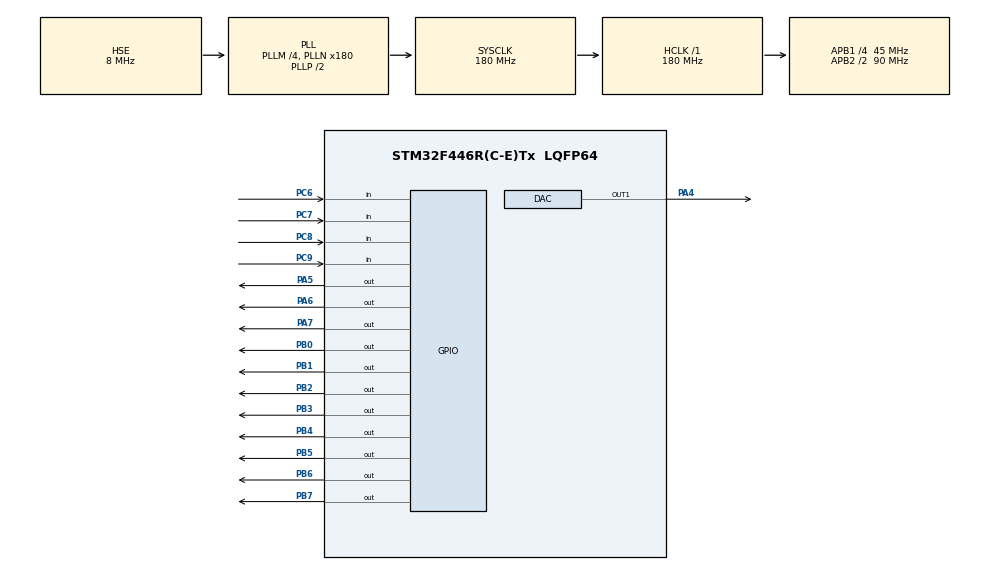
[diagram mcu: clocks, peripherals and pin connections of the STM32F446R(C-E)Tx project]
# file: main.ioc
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DAC.DAC_Trigger=DAC_TRIGGER_T2_TRGO
Dma.DAC1.0.Direction=DMA_MEMORY_TO_PERIPH
Dma.DAC1.0.FIFOMode=DMA_FIFOMODE_DISABLE
Dma.DAC1.0.Instance=DMA1_Stream5
Dma.DAC1.0.MemDataAlignment=DMA_MDATAALIGN_WORD
Dma.DAC1.0.MemInc=DMA_MINC_ENABLE
Dma.DAC1.0.Mode=DMA_CIRCULAR
Dma.DAC1.0.PeriphDataAlignment=DMA_PDATAALIGN_WORD
Dma.DAC1.0.PeriphInc=DMA_PINC_DISABLE
Dma.DAC1.0.Priority=DMA_PRIORITY_LOW
Dma.Request0=DAC1
Mcu.Family=STM32F4
Mcu.Name=STM32F446R(C-E)Tx
Mcu.Package=LQFP64
NVIC.DMA1_Stream5_IRQn=true\:0\:0\:false\:false\:true\:false\:true
NVIC.PriorityGroup=NVIC_PRIORITYGROUP_0
NVIC.TIM2_IRQn=true\:0\:0\:false\:false\:true\:true\:true
PA13.Mode=Serial_Wire
PA13.Signal=SYS_JTMS-SWDIO
PA14.Mode=Serial_Wire
PA14.Signal=SYS_JTCK-SWCLK
PA4.Signal=COMP_DAC1_group
PA5.Signal=GPIO_Output
PA6.Signal=GPIO_Output
PA7.Signal=GPIO_Output
PB0.Signal=GPIO_Output
PB1.Signal=GPIO_Output
PB2.Signal=GPIO_Output
PB3.Signal=GPIO_Output
PB4.Signal=GPIO_Output
PB5.Signal=GPIO_Output
PB6.Signal=GPIO_Output
PB7.Signal=GPIO_Output
PC6.GPIO_PuPd=GPIO_PULLUP
PC6.Signal=GPIO_Input
PC7.GPIO_PuPd=GPIO_PULLUP
PC7.Signal=GPIO_Input
PC8.GPIO_PuPd=GPIO_PULLUP
PC8.Signal=GPIO_Input
PC9.GPIO_PuPd=GPIO_PULLUP
PC9.Signal=GPIO_Input
PH0-OSC_IN.Mode=HSE-External-Oscillator
PH0-OSC_IN.Signal=RCC_OSC_IN
PH1-OSC_OUT.Mode=HSE-External-Oscillator
PH1-OSC_OUT.Signal=RCC_OSC_OUT
ProjectManager.HeapSize=0x200
ProjectManager.StackSize=0x400
ProjectManager.TargetToolchain=EWARM V8.32
RCC.48MHZClocksFreq_Value=84000000
RCC.AHBFreq_Value=180000000
RCC.APB1CLKDivider=RCC_HCLK_DIV4
RCC.APB1Freq_Value=45000000
RCC.APB1TimFreq_Value=90000000
RCC.APB2CLKDivider=RCC_HCLK_DIV2
RCC.APB2Freq_Value=90000000
RCC.APB2TimFreq_Value=180000000
RCC.CortexFreq_Value=180000000
RCC.FLatency-AdvancedSettings=FLASH_LATENCY_5
RCC.HCLKFreq_Value=180000000
RCC.HSE_VALUE=8000000
RCC.HSI_VALUE=16000000
RCC.PLLM=4
RCC.PLLN=180
RCC.PLLSourceVirtual=RCC_PLLSOURCE_HSE
RCC.SYSCLKFreq_VALUE=180000000
RCC.SYSCLKSource=RCC_SYSCLKSOURCE_PLLCLK
RCC.USBFreq_Value=180000000
RCC.VCOOutputFreq_Value=360000000
SH.COMP_DAC1_group.0=DAC_OUT1,DAC_OUT1
TIM2.Period=100-1
TIM2.Prescaler=90-1
TIM2.TIM_MasterOutputTrigger=TIM_TRGO_UPDATE
VP_TIM2_VS_ClockSourceINT.Mode=Internal
board=NUCLEO-F446RE

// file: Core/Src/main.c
/* USER CODE BEGIN Header */
/**
  ******************************************************************************
  * @file           : main.c
  * @brief          : Main program body
  ******************************************************************************
  * @attention
  *
  * Copyright (c) 2022 STMicroelectronics.
  * All rights reserved.
  *
  * This software is licensed under terms that can be found in the LICENSE file
  * in the root directory of this software component.
  * If no LICENSE file comes with this software, it is provided AS-IS.
  *
  ******************************************************************************
  */
/* USER CODE END Header */
#include "main.h"

/* USER CODE BEGIN Includes */
#include "math.h"
#include "LCD/lcd.h"
#include <stdio.h>

/* USER CODE END Includes */

/* USER CODE BEGIN PD */
#define PI 3.1415926
#define k1 HAL_GPIO_ReadPin(GPIOC, GPIO_PIN_6)
#define k2 HAL_GPIO_ReadPin(GPIOC, GPIO_PIN_7)
#define k3 HAL_GPIO_ReadPin(GPIOC, GPIO_PIN_8)
#define k4 HAL_GPIO_ReadPin(GPIOC, GPIO_PIN_9)
/* USER CODE END PD */

DAC_HandleTypeDef hdac;
DMA_HandleTypeDef hdma_dac1;

TIM_HandleTypeDef htim2;

void SystemClock_Config(void);
static void MX_GPIO_Init(void);
static void MX_DMA_Init(void);
static void MX_DAC_Init(void);
static void MX_TIM2_Init(void);

/* USER CODE BEGIN 0 */
//userinterface variable
enum eType {menu, freq, ampl, set, setFreq, setAmpl} state;
char str[17];
//uint32_t f = 10;
float f[] =
{
  11, 15, 18, 22, 25, 26, 27, 28, 29, 30, 31, 32, 33, 34, 36, 37, 39, 41, 43, 45, 47, 50, 53, 56, 60, 64, 69, 75, 81, 90, 100, 112, 128, 150, 150, 180, 225,
  240, 250, 260, 270, 280, 290, 300, 310, 320, 330, 345, 360, 375, 390, 410, 430, 450, 470, 500, 530, 560, 600, 640, 690, 750, 810, 900, 1000,
  1120, 1280, 1500, 1800, 2250, 3000, 4500, 9000, 90000
}; //length = 73 -- indez of 63 to end KHz

float Ampl_range[] =
{
  0.15151515151515152, 0.18181818181818182, 0.21212121212121213, 0.24242424242424243, 0.2727272727272727, 0.30303030303030304,
  0.3333333333333333, 0.3636363636363636, 0.3939393939393939, 0.42424242424242425, 0.45454545454545453, 0.48484848484848475,
  0.5151515151515151, 0.5454545454545454, 0.5757575757575757,  0.606060606060606, 0.6363636363636362, 0.6666666666666666,
  0.6969696969696969, 0.7272727272727272, 0.7575757575757575, 0.7878787878787878, 0.818181818181818, 0.8484848484848484,
  0.8787878787878787, 0.9090909090909091, 0.9393939393939393, 0.9696969696969695, 0.9999999999999999
}; // 0.5V to 3.3V

uint32_t Q_range[] =
{
  80, 60, 50, 40, 360, 350, 340, 330, 320, 310, 300, 290, 280, 270, 260, 250, 240, 230, 220, 210, 200, 190, 180, 170, 160, 150, 140, 130, 120, 110, 100, 90,
  80, 70, 60, 50, 40, 360, 350, 340, 330, 320, 310, 300, 290, 280, 270, 260, 250, 240, 230, 220, 210, 200, 190, 180, 170, 160, 150, 140, 130, 120, 110, 100, 90,
  80, 70, 60, 50, 40, 30, 20, 1, 1
};

uint32_t Z_range[] =
{
  1000, 1000, 1000, 1000, 100, 100, 100, 100, 100, 100, 100, 100, 100, 100, 100, 100, 100, 100, 100, 100, 100, 100, 100, 100, 100, 100, 100, 100, 100, 100, 100, 100,
  100, 100, 100, 100, 100, 10, 10, 10, 10, 10, 10, 10, 10, 10, 10, 10, 10, 10, 10, 10, 10, 10, 10, 10, 10, 10, 10, 10, 10, 10, 10, 10, 10,
  10, 10, 10, 10, 10, 10, 10, 100, 10
};

unsigned char n_f = 0; //index of array frequency
unsigned char n_A= 0; //index of array ampl
uint32_t A = 5;
uint32_t tSys;
uint32_t i = 0;
unsigned char flag = 0;

//generate sine variable
float val = 0.2;
uint32_t var;
uint32_t sinVal[100];
unsigned int N = 9;     //for change frequency of sine wave
float Ampl = 0.1515;  //amplitude of sine wave in volt
float Adb = 20; //amplitude of sine wave in db

uint32_t Q = 1, W = 1; // W only 1 --  Q variable beetwen  1 to 360
uint32_t Z = 1000, X = 1;

float volt2db(float v)
{
    return ((int)(20 * log10(v)));
}

float db2volt(float d)
{
    return ((int)(pow(10, (d/20))));
}

void getSinVal(void)
{
  for(int i = 0; i < 100; i++)
  {
    sinVal[i] = Ampl_range[n_A] * (sin(i*2*PI/100) + 1) * (4096/2) ;
  }
}

/* USER CODE END 0 */

int main(void)
{

  /* MCU Configuration--------------------------------------------------------*/

  /* Reset of all peripherals, Initializes the Flash interface and the Systick. */
  HAL_Init();

  /* Configure the system clock */
  SystemClock_Config();

  /* Initialize all configured peripherals */
  MX_GPIO_Init();
  MX_DMA_Init();
  MX_DAC_Init();
  MX_TIM2_Init();
  /* USER CODE BEGIN 2 */

  lcd_init();
  lcd_clear();
  lcd_gotoxy(0, 0);
  lcd_puts("******SUT*******");
  lcd_gotoxy(3, 1);
  lcd_puts("OAE  Group");
  HAL_Delay(6000);
  lcd_clear();

  //HAL_DAC_Start(&hdac, DAC_CHANNEL_1);
  HAL_TIM_Base_Start(&htim2);
  HAL_DAC_Start_DMA(&hdac, DAC_CHANNEL_1, sinVal, 100, DAC_ALIGN_12B_R);

  /* USER CODE END 2 */

  /* Infinite loop */
  /* USER CODE BEGIN WHILE */

  while (1)
  {
    switch (state)
    {
      case menu:
        lcd_gotoxy(0, 0);
        lcd_puts("1.Freq");
        lcd_gotoxy(10, 0);
        lcd_puts("2.Ampl");
        lcd_gotoxy(0, 1);
        lcd_puts("3.Set");
        lcd_gotoxy(10, 1);
        lcd_puts("4.Back");

        if(flag == 0)
        {
          if(k1 == GPIO_PIN_RESET)
          {
            //while(k1 == GPIO_PIN_RESET);
            tSys = 0;
            state = freq;
            lcd_clear();
            flag = 1;
          }
        }
        else
        {
          if(tSys > 199)
            flag = 0;
        }

        if(flag == 0)
        {
          if(k2 == GPIO_PIN_RESET)
          {
            //while(k2 == GPIO_PIN_RESET);
            tSys = 0;
            state = ampl;
            lcd_clear();
            flag = 1;
          }
        }
        else
        {
          if(tSys > 199)
            flag = 0;
        }

        if(flag == 0)
        {
          if(k3 == GPIO_PIN_RESET)
          {
            //while(k3 == GPIO_PIN_RESET);
            tSys = 0;
            state = set;
            lcd_clear();
            flag = 1;
          }
        }
        else
        {
          if(tSys > 199)
            flag = 0;
        }
        break;

      case freq:
        lcd_gotoxy(0, 0);
        if(Q == W == 1)
        {
          switch (Z)
          {
          case 10:
            lcd_puts("Freq: 90 KHz");
            break;
          case 100:
            lcd_puts("Freq: 9 KHz");
            break;
          case 1000:
            lcd_puts("Freq: 900 Hz");
            break;
          case 10000:
            lcd_puts("Freq: 90 Hz");
            break;
          }
        }

        if(Q == 10 && W == 1)
        {
          switch (Z)
          {
            case 10:
              lcd_puts("Freq: 9 KHz");
              break;
            case 100:
              lcd_puts("Freq: 900 Hz");
              break;
            case 1000:
              lcd_puts("Freq: 90 Hz");
              break;
          }
        }

        if(Q == 20 && W == 1)
        {
          switch (Z)
          {
            case 10:
              lcd_puts("Freq: 4.5 KHz");
              break;
            case 100:
              lcd_puts("Freq: 450 Hz");
              break;
            case 1000:
              lcd_puts("Freq: 45 Hz");
              break;
          }
        }

        if(Q == 30 && W == 1)
        {
          switch (Z)
          {
            case 10:
              lcd_puts("Freq: 3 KHz");
              break;
            case 100:
              lcd_puts("Freq: 300 Hz");
              break;
            case 1000:
              lcd_puts("Freq: 30 Hz");
              break;
          }
        }

        if(Q == 40 && W == 1)
        {
          switch (Z)
          {
            case 10:
              lcd_puts("Freq: 2.25 KHz");
              break;
            case 100:
              lcd_puts("Freq: 225 Hz");
              break;
            case 1000:
              lcd_puts("Freq: 22 Hz");
              break;
          }
        }

        if(Q == 50 && W == 1)
        {
          switch (Z)
          {
            case 10:
              lcd_puts("Freq: 1.8 KHz");
              break;
            case 100:
              lcd_puts("Freq: 180 Hz");
              break;
            case 1000:
              lcd_puts("Freq: 18 Hz");
              break;
          }
        }

        if(Q == 60 && W == 1)
        {
          switch (Z)
          {
            case 10:
              lcd_puts("Freq: 1.5 KHz");
              break;
            case 100:
              lcd_puts("Freq: 150 Hz");
              break;
            case 1000:
              lcd_puts("Freq: 15 Hz");
              break;
          }
        }

        if(Q == 70 && W == 1)
        {
          switch (Z)
          {
            case 10:
              lcd_puts("Freq: 1.28 KHz");
              break;
            case 100:
              lcd_puts("Freq: 128 Hz");
              break;
            case 1000:
              lcd_puts("Freq: 13 Hz");
              break;
          }
        }

        if(Q == 80 && W == 1)
        {
          switch (Z)
          {
            case 10:
              lcd_puts("Freq: 1.12 KHz");
              break;
            case 100:
              lcd_puts("Freq: 112 Hz");
              break;
            case 1000:
              lcd_puts("Freq: 11 Hz");
              break;
          }
        }

        if(Q == 90 && W == 1)
        {
          switch (Z)
          {
            case 10:
              lcd_puts("Freq: 1 KHz");
              break;
            case 100:
              lcd_puts("Freq: 100 Hz");
              break;
            case 1000:
              lcd_puts("Freq: 10 Hz");
              break;
          }
        }

        if(Q == 100 && W == 1)
        {
          switch (Z)
          {
            case 10:
              lcd_puts("Freq: 900 Hz");
              break;
            case 100:
              lcd_puts("Freq: 90 Hz");
              break;
            case 1000:
              lcd_puts("Freq: 9 Hz");
              break;
          }
        }

        if(Q == 110 && W == 1)
        {
          switch (Z)
          {
            case 10:
              lcd_puts("Freq: 810 Hz");
              break;
            case 100:
              lcd_puts("Freq: 81 Hz");
              break;
            case 1000:
              lcd_puts("Freq: 8 Hz");
              break;
          }
        }

        if(Q == 120 && W == 1)
        {
          switch (Z)
          {
            case 10:
              lcd_puts("Freq: 750 Hz");
              break;
            case 100:
              lcd_puts("Freq: 75 Hz");
              break;
            case 1000:
              lcd_puts("Freq: 7 Hz");
              break;
          }
        }

        if(Q == 130 && W == 1)
        {
          switch (Z)
          {
            case 10:
              lcd_puts("Freq: 690 Hz");
              break;
            case 100:
              lcd_puts("Freq: 69 Hz");
              break;
            case 1000:
              lcd_puts("Freq: 6 Hz");
              break;
          }
        }

        if(Q == 140 && W == 1)
        {
          switch (Z)
          {
            case 10:
              lcd_puts("Freq: 640 Hz");
              break;
            case 100:
              lcd_puts("Freq: 64 Hz");
              break;
            case 1000:
              lcd_puts("Freq: 6 Hz");
              break;
          }
        }

        if(Q == 150 && W == 1)
        {
          switch (Z)
          {
            case 10:
              lcd_puts("Freq: 600 Hz");
              break;
            case 100:
              lcd_puts("Freq: 60 Hz");
              break;
          }
        }

        if(Q == 160 && W == 1)
        {
          switch (Z)
          {
            case 10:
              lcd_puts("Freq: 560 Hz");
              break;
            case 100:
              lcd_puts("Freq: 56 Hz");
              break;
          }
        }

        if(Q == 170 && W == 1)
        {
          switch (Z)
          {
            case 10:
              lcd_puts("Freq: 530 Hz");
              break;
            case 100:
              lcd_puts("Freq: 53 Hz");
              break;
          }
        }

        if(Q == 180 && W == 1)
        {
          switch (Z)
          {
            case 10:
              lcd_puts("Freq: 500 Hz");
              break;
            case 100:
              lcd_puts("Freq: 50 Hz");
              break;
          }
        }

        if(Q == 190 && W == 1)
        {
          switch (Z)
          {
            case 10:
              lcd_puts("Freq: 470 Hz");
              break;
            case 100:
              lcd_puts("Freq: 47 Hz");
              break;
          }
        }

        if(Q == 200 && W == 1)
        {
          switch (Z)
          {
            case 10:
              lcd_puts("Freq: 450 Hz");
              break;
            case 100:
              lcd_puts("Freq: 45 Hz");
              break;
          }
        }

        if(Q == 210 && W == 1)
        {
          switch (Z)
          {
            case 10:
              lcd_puts("Freq: 430 Hz");
              break;
            case 100:
              lcd_puts("Freq: 43 Hz");
              break;
          }
        }

        if(Q == 220 && W == 1)
        {
          switch (Z)
          {
            case 10:
              lcd_puts("Freq: 410 Hz");
              break;
            case 100:
              lcd_puts("Freq: 41 Hz");
              break;
          }
        }

        if(Q == 230 && W == 1)
        {
          switch (Z)
          {
            case 10:
              lcd_puts("Freq: 390 Hz");
              break;
            case 100:
              lcd_puts("Freq: 39 Hz");
              break;
          }
        }

        if(Q == 240 && W == 1)
        {
          switch (Z)
          {
            case 10:
              lcd_puts("Freq: 375 Hz");
              break;
            case 100:
              lcd_puts("Freq: 37.5 Hz");
              break;
          }
        }

        if(Q == 250 && W == 1)
        {
          switch (Z)
          {
            case 10:
              lcd_puts("Freq: 360 Hz");
              break;
            case 100:
              lcd_puts("Freq: 36 Hz");
              break;
          }
        }

        if(Q == 260 && W == 1)
        {
          switch (Z)
          {
            case 10:
              lcd_puts("Freq: 345 Hz");
              break;
            case 100:
              lcd_puts("Freq: 34.5 Hz");
              break;
          }
        }

        if(Q == 270 && W == 1)
        {
          switch (Z)
          {
            case 10:
              lcd_puts("Freq: 330 Hz");
              break;
            case 100:
              lcd_puts("Freq: 33 Hz");
              break;
          }
        }

        if(Q == 280 && W == 1)
        {
          switch (Z)
          {
            case 10:
              lcd_puts("Freq: 320 Hz");
              break;
            case 100:
              lcd_puts("Freq: 32 Hz");
              break;
          }
        }

        if(Q == 290 && W == 1)
        {
          switch (Z)
          {
            case 10:
              lcd_puts("Freq: 310 Hz");
              break;
              case 100:
              lcd_puts("Freq: 31 Hz");
              break;
          }
        }

        if(Q == 300 && W == 1)
        {
          switch (Z)
          {
            case 10:
              lcd_puts("Freq: 300 Hz");
              break;
            case 100:
              lcd_puts("Freq: 30 Hz");
              break;
          }
        }

        if(Q == 310 && W == 1)
        {
          switch (Z)
          {
            case 10:
              lcd_puts("Freq: 290 Hz");
              break;
            case 100:
              lcd_puts("Freq: 29 Hz");
              break;
          }
        }

        if(Q == 320 && W == 1)
        {
          switch (Z)
          {
            case 10:
              lcd_puts("Freq: 280 Hz");
              break;
            case 100:
              lcd_puts("Freq: 28 Hz");
              break;
          }
        }

        if(Q == 330 && W == 1)
        {
          switch (Z)
          {
            case 10:
              lcd_puts("Freq: 270 Hz");
              break;
            case 100:
              lcd_puts("Freq: 27 Hz");
              break;
          }
        }

        if(Q == 340 && W == 1)
        {
          switch (Z)
          {
            case 10:
              lcd_puts("Freq: 260 Hz");
              break;
            case 100:
              lcd_puts("Freq: 26 Hz");
              break;
          }
        }

        if(Q == 350 && W == 1)
        {
          switch (Z)
          {
            case 10:
              lcd_puts("Freq: 250 Hz");
              break;
            case 100:
              lcd_puts("Freq: 25 Hz");
              break;
          }
        }

        if(Q == 360 && W == 1)
        {
          switch (Z)
          {
            case 10:
              lcd_puts("Freq: 240 Hz");
              break;
            case 100:
              lcd_puts("Freq: 25 Hz");
              break;
          }
        }

        if(flag == 0)
        {
          if(k4 == GPIO_PIN_RESET)
          {
            //while(k4 == GPIO_PIN_RESET);
            tSys = 0;
            state = menu;
            lcd_clear();
            flag = 1;
          }
        }
        else
        {
          if(tSys > 199)
            flag = 0;
        }
        break;

      case ampl:
        lcd_gotoxy(0, 0);
        sprintf(str, "Ampl: %.2f V", Ampl_range[n_A] * 3.3);
        lcd_puts(str);

        if(flag == 0)
        {
          if(k4 == GPIO_PIN_RESET)
          {
            //while(k4 == GPIO_PIN_RESET);
            tSys = 0;
            state = menu;
            lcd_clear();
            flag = 1;
          }
        }
        else
        {
          if(tSys > 199)
            flag = 0;
        }
        break;

      case set:
        lcd_gotoxy(0, 0);
        lcd_puts("1.Set Freq");
        lcd_gotoxy(0, 1);
        lcd_puts("2.Set Ampl");
        lcd_gotoxy(11, 1);
        lcd_puts("3.Bck");

        if(flag == 0)
        {
          if(k1 == GPIO_PIN_RESET)
          {
            //while(k1 == GPIO_PIN_RESET);
            tSys = 0;
            state = setFreq;
            lcd_clear();
            flag = 1;
          }
        }
        else
        {
          if(tSys > 199)
            flag = 0;
        }

        if(flag == 0)
        {
          if(k2 == GPIO_PIN_RESET)
          {
            //while(k2 == GPIO_PIN_RESET);
            tSys = 0;
            state = setAmpl;
            lcd_clear();
            flag = 1;
          }
        }
        else
        {
          if(tSys > 199)
            flag = 0;
        }

        if(flag == 0)
        {
          if(k4 == GPIO_PIN_RESET)
          {
            //while(k3 == GPIO_PIN_RESET);
            tSys = 0;
            state = menu;
            lcd_clear();
            flag = 1;
          }
        }
        else
        {
          if(tSys > 199)
            flag = 0;
        }
        break;

      case setFreq:
        MX_TIM2_Init();
        getSinVal();
        lcd_gotoxy(0, 0);
        if(n_f > 63)
        {
          sprintf(str, "Freq: %.2f KHz", f[n_f]/1000);
        }
        else
          sprintf(str, "Freq: %.2f Hz", f[n_f]);
        lcd_puts(str);

        if(flag == 0)
        {
          if(k1 == GPIO_PIN_RESET)
          {
            //while(k1 == GPIO_PIN_RESET);
            tSys = 0;
            n_f += 1;
            flag = 1;
            if(n_f > 73)
            {
              n_f = 0;
              lcd_clear();
              lcd_gotoxy(0, 0);
              sprintf(str, "Freq: %.2f Hz", f[n_f]);
              lcd_puts(str);
            }
          }
        }
        else
        {
          if(tSys > 199)
            flag = 0;
        }

        if(flag == 0)
        {
          if(k2 == GPIO_PIN_RESET)
          {
            //while(k2 == GPIO_PIN_RESET);
            tSys = 0;
            n_f -= 1;
            flag = 1;
            if(n_f < 0)
            {
              n_f = 0;
              lcd_clear();
              lcd_gotoxy(0, 0);
              sprintf(str, "Freq: %.2f Hz", f[n_f]);
              lcd_puts(str);
            }
          }
        }
        else
        {
          if(tSys > 199)
            flag = 0;
        }

        if(flag == 0)
        {
          if(k4 == GPIO_PIN_RESET)
          {
            //while(k4 == GPIO_PIN_RESET);
            tSys = 0;
            state = set;
            lcd_clear();
            flag = 1;
          }
        }
        else
        {
          if(tSys > 199)
            flag = 0;
        }
        break;

      case setAmpl:
        getSinVal();
        lcd_gotoxy(0, 0);
        sprintf(str, "Ampl: %.2f V", Ampl_range[n_A] * 3.3);
        lcd_puts(str);

        if(flag == 0)
        {
          if(k1 == GPIO_PIN_RESET)
          {
            //while(k1 == GPIO_PIN_RESET);
            tSys = 0;
            n_A += 1;
            flag = 1;
            if(n_A > 28)
              n_A = 0;
          }
        }
        else
        {
          if(tSys > 199)
            flag = 0;
        }

        if(flag == 0)
        {
          if(k2 == GPIO_PIN_RESET)
          {
            //while(k2 == GPIO_PIN_RESET);
            tSys = 0;
            n_A -= 0.1;
            flag = 1;
            if(n_A < 0)
              n_A = 0;
          }
        }
        else
        {
          if(tSys > 199)
            flag = 0;
        }

        if(flag == 0)
        {
          if(k4 == GPIO_PIN_RESET)
          {
            //while(k4 == GPIO_PIN_RESET);
            tSys = 0;
            state = set;
            lcd_clear();
            flag = 1;
          }
        }
        break;

    }
    /* USER CODE END WHILE */

  }
}

void SystemClock_Config(void)
{
  RCC_OscInitTypeDef RCC_OscInitStruct = {0};
  RCC_ClkInitTypeDef RCC_ClkInitStruct = {0};

  /** Configure the main internal regulator output voltage
  */
  __HAL_RCC_PWR_CLK_ENABLE();
  __HAL_PWR_VOLTAGESCALING_CONFIG(PWR_REGULATOR_VOLTAGE_SCALE1);
  /** Initializes the RCC Oscillators according to the specified parameters
  * in the RCC_OscInitTypeDef structure.
  */
  RCC_OscInitStruct.OscillatorType = RCC_OSCILLATORTYPE_HSE;
  RCC_OscInitStruct.HSEState = RCC_HSE_ON;
  RCC_OscInitStruct.PLL.PLLState = RCC_PLL_ON;
  RCC_OscInitStruct.PLL.PLLSource = RCC_PLLSOURCE_HSE;
  RCC_OscInitStruct.PLL.PLLM = 4;
  RCC_OscInitStruct.PLL.PLLN = 180;
  RCC_OscInitStruct.PLL.PLLP = RCC_PLLP_DIV2;
  RCC_OscInitStruct.PLL.PLLQ = 2;
  RCC_OscInitStruct.PLL.PLLR = 2;
  if (HAL_RCC_OscConfig(&RCC_OscInitStruct) != HAL_OK)
  {
    Error_Handler();
  }
  /** Activate the Over-Drive mode
  */
  if (HAL_PWREx_EnableOverDrive() != HAL_OK)
  {
    Error_Handler();
  }
  /** Initializes the CPU, AHB and APB buses clocks
  */
  RCC_ClkInitStruct.ClockType = RCC_CLOCKTYPE_HCLK|RCC_CLOCKTYPE_SYSCLK
                              |RCC_CLOCKTYPE_PCLK1|RCC_CLOCKTYPE_PCLK2;
  RCC_ClkInitStruct.SYSCLKSource = RCC_SYSCLKSOURCE_PLLCLK;
  RCC_ClkInitStruct.AHBCLKDivider = RCC_SYSCLK_DIV1;
  RCC_ClkInitStruct.APB1CLKDivider = RCC_HCLK_DIV4;
  RCC_ClkInitStruct.APB2CLKDivider = RCC_HCLK_DIV2;

  if (HAL_RCC_ClockConfig(&RCC_ClkInitStruct, FLASH_LATENCY_5) != HAL_OK)
  {
    Error_Handler();
  }
}

static void MX_DAC_Init(void)
{

  DAC_ChannelConfTypeDef sConfig = {0};

  /** DAC Initialization
  */
  hdac.Instance = DAC;
  if (HAL_DAC_Init(&hdac) != HAL_OK)
  {
    Error_Handler();
  }
  /** DAC channel OUT1 config
  */
  sConfig.DAC_Trigger = DAC_TRIGGER_T2_TRGO;
  sConfig.DAC_OutputBuffer = DAC_OUTPUTBUFFER_ENABLE;
  if (HAL_DAC_ConfigChannel(&hdac, &sConfig, DAC_CHANNEL_1) != HAL_OK)
  {
    Error_Handler();
  }

}

static void MX_TIM2_Init(void)
{

  TIM_ClockConfigTypeDef sClockSourceConfig = {0};
  TIM_MasterConfigTypeDef sMasterConfig = {0};

  /* USER CODE BEGIN TIM2_Init 1 */
  Q = Q_range[n_f];
  Z = Z_range[n_f];
  /* USER CODE END TIM2_Init 1 */
  htim2.Instance = TIM2;
  htim2.Init.Prescaler = Q-W;
  htim2.Init.CounterMode = TIM_COUNTERMODE_UP;
  htim2.Init.Period = Z-X;
  htim2.Init.ClockDivision = TIM_CLOCKDIVISION_DIV1;
  htim2.Init.AutoReloadPreload = TIM_AUTORELOAD_PRELOAD_DISABLE;
  if (HAL_TIM_Base_Init(&htim2) != HAL_OK)
  {
    Error_Handler();
  }
  sClockSourceConfig.ClockSource = TIM_CLOCKSOURCE_INTERNAL;
  if (HAL_TIM_ConfigClockSource(&htim2, &sClockSourceConfig) != HAL_OK)
  {
    Error_Handler();
  }
  sMasterConfig.MasterOutputTrigger = TIM_TRGO_UPDATE;
  sMasterConfig.MasterSlaveMode = TIM_MASTERSLAVEMODE_DISABLE;
  if (HAL_TIMEx_MasterConfigSynchronization(&htim2, &sMasterConfig) != HAL_OK)
  {
    Error_Handler();
  }

}

static void MX_DMA_Init(void)
{

  /* DMA controller clock enable */
  __HAL_RCC_DMA1_CLK_ENABLE();

  /* DMA interrupt init */
  /* DMA1_Stream5_IRQn interrupt configuration */
  HAL_NVIC_SetPriority(DMA1_Stream5_IRQn, 0, 0);
  HAL_NVIC_EnableIRQ(DMA1_Stream5_IRQn);

}

static void MX_GPIO_Init(void)
{
  GPIO_InitTypeDef GPIO_InitStruct = {0};

  /* GPIO Ports Clock Enable */
  __HAL_RCC_GPIOH_CLK_ENABLE();
  __HAL_RCC_GPIOA_CLK_ENABLE();
  __HAL_RCC_GPIOB_CLK_ENABLE();
  __HAL_RCC_GPIOC_CLK_ENABLE();

  /*Configure GPIO pin Output Level */
  HAL_GPIO_WritePin(GPIOA, GPIO_PIN_5|GPIO_PIN_6|GPIO_PIN_7, GPIO_PIN_RESET);

  /*Configure GPIO pin Output Level */
  HAL_GPIO_WritePin(GPIOB, GPIO_PIN_0|GPIO_PIN_1|GPIO_PIN_2|GPIO_PIN_3
                          |GPIO_PIN_4|GPIO_PIN_5|GPIO_PIN_6|GPIO_PIN_7, GPIO_PIN_RESET);

  /*Configure GPIO pins : PA5 PA6 PA7 */
  GPIO_InitStruct.Pin = GPIO_PIN_5|GPIO_PIN_6|GPIO_PIN_7;
  GPIO_InitStruct.Mode = GPIO_MODE_OUTPUT_PP;
  GPIO_InitStruct.Pull = GPIO_NOPULL;
  GPIO_InitStruct.Speed = GPIO_SPEED_FREQ_LOW;
  HAL_GPIO_Init(GPIOA, &GPIO_InitStruct);

  /*Configure GPIO pins : PB0 PB1 PB2 PB3
                           PB4 PB5 PB6 PB7 */
  GPIO_InitStruct.Pin = GPIO_PIN_0|GPIO_PIN_1|GPIO_PIN_2|GPIO_PIN_3
                          |GPIO_PIN_4|GPIO_PIN_5|GPIO_PIN_6|GPIO_PIN_7;
  GPIO_InitStruct.Mode = GPIO_MODE_OUTPUT_PP;
  GPIO_InitStruct.Pull = GPIO_NOPULL;
  GPIO_InitStruct.Speed = GPIO_SPEED_FREQ_LOW;
  HAL_GPIO_Init(GPIOB, &GPIO_InitStruct);

  /*Configure GPIO pins : PC6 PC7 PC8 PC9 */
  GPIO_InitStruct.Pin = GPIO_PIN_6|GPIO_PIN_7|GPIO_PIN_8|GPIO_PIN_9;
  GPIO_InitStruct.Mode = GPIO_MODE_INPUT;
  GPIO_InitStruct.Pull = GPIO_PULLUP;
  HAL_GPIO_Init(GPIOC, &GPIO_InitStruct);

}

void Error_Handler(void)
{
  __disable_irq();
  while (1)
  {
  }
}
